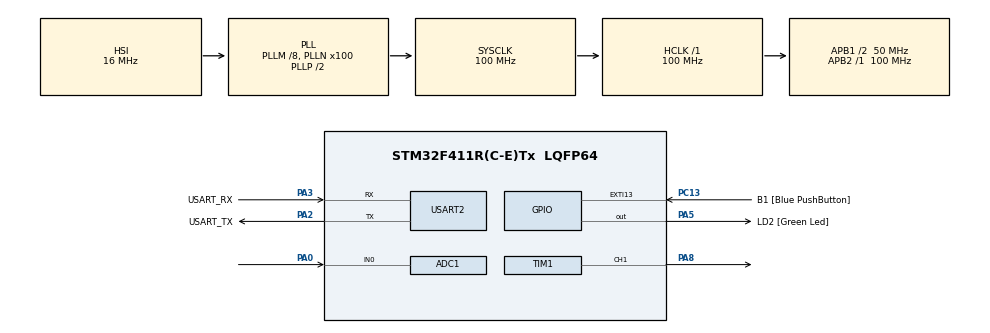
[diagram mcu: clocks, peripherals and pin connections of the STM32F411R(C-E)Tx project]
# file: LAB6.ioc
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ADC1.Channel-0\#ChannelRegularConversion=ADC_CHANNEL_0
ADC1.ExternalTrigConv=ADC_EXTERNALTRIGCONV_T3_TRGO
ADC1.InjNumberOfConversion=0
ADC1.NbrOfConversion=1
ADC1.NbrOfConversionFlag=1
ADC1.Rank-0\#ChannelRegularConversion=1
ADC1.SamplingTime-0\#ChannelRegularConversion=ADC_SAMPLETIME_3CYCLES
ADC1.master=1
Mcu.Family=STM32F4
Mcu.Name=STM32F411R(C-E)Tx
Mcu.Package=LQFP64
NVIC.ADC_IRQn=true\:0\:0\:false\:false\:true\:true\:true
NVIC.PriorityGroup=NVIC_PRIORITYGROUP_0
NVIC.TIM1_TRG_COM_TIM11_IRQn=true\:0\:0\:false\:false\:true\:true\:true
PA0-WKUP.Signal=ADCx_IN0
PA13.GPIO_Label=TMS
PA13.Mode=Serial_Wire
PA13.Signal=SYS_JTMS-SWDIO
PA14.GPIO_Label=TCK
PA14.Mode=Serial_Wire
PA14.Signal=SYS_JTCK-SWCLK
PA2.GPIO_Label=USART_TX
PA2.Mode=Asynchronous
PA2.Signal=USART2_TX
PA3.GPIO_Label=USART_RX
PA3.Mode=Asynchronous
PA3.Signal=USART2_RX
PA5.GPIO_Label=LD2 [Green Led]
PA5.Signal=GPIO_Output
PA8.Signal=S_TIM1_CH1
PB3.GPIO_Label=SWO
PB3.Signal=SYS_JTDO-SWO
PC13-ANTI_TAMP.GPIO_Label=B1 [Blue PushButton]
PC13-ANTI_TAMP.GPIO_ModeDefaultEXTI=GPIO_MODE_IT_FALLING
PC13-ANTI_TAMP.Signal=GPXTI13
PC14-OSC32_IN.Mode=LSE-External-Oscillator
PC14-OSC32_IN.Signal=RCC_OSC32_IN
PC15-OSC32_OUT.Mode=LSE-External-Oscillator
PC15-OSC32_OUT.Signal=RCC_OSC32_OUT
PH0\ -\ OSC_IN.Mode=HSE-External-Clock-Source
PH0\ -\ OSC_IN.Signal=RCC_OSC_IN
PH1\ -\ OSC_OUT.Mode=HSE-External-Clock-Source
PH1\ -\ OSC_OUT.Signal=RCC_OSC_OUT
ProjectManager.HeapSize=0x200
ProjectManager.StackSize=0x400
ProjectManager.TargetToolchain=STM32CubeIDE
RCC.48MHZClocksFreq_Value=50000000
RCC.AHBFreq_Value=100000000
RCC.APB1CLKDivider=RCC_HCLK_DIV2
RCC.APB1Freq_Value=50000000
RCC.APB1TimFreq_Value=100000000
RCC.APB2Freq_Value=100000000
RCC.APB2TimFreq_Value=100000000
RCC.CortexFreq_Value=100000000
RCC.FLatency-AdvancedSettings=FLASH_LATENCY_3
RCC.HCLKFreq_Value=100000000
RCC.HSE_VALUE=8000000
RCC.HSI_VALUE=16000000
RCC.PLLM=8
RCC.PLLN=100
RCC.SYSCLKFreq_VALUE=100000000
RCC.SYSCLKSource=RCC_SYSCLKSOURCE_PLLCLK
RCC.VCOOutputFreq_Value=200000000
SH.ADCx_IN0.0=ADC1_IN0,IN0
SH.S_TIM1_CH1.0=TIM1_CH1,PWM Generation1 CH1
TIM1.Channel-PWM\ Generation1\ CH1=TIM_CHANNEL_1
TIM1.Period=10000
TIM1.Pulse-PWM\ Generation1\ CH1=5000
TIM11.Prescaler=99
TIM3.Period=1000
TIM3.Prescaler=99
TIM3.TIM_MasterOutputTrigger=TIM_TRGO_UPDATE
USART2.VirtualMode=VM_ASYNC
VP_TIM11_VS_ClockSourceINT.Mode=Enable_Timer
VP_TIM1_VS_ClockSourceINT.Mode=Internal
VP_TIM3_VS_ClockSourceINT.Mode=Internal
board=NUCLEO-F411RE

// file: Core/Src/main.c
/* USER CODE BEGIN Header */
/**
 ******************************************************************************
 * @file           : main.c
 * @brief          : Main program body
 ******************************************************************************
 * @attention
 *
 * <h2><center>&copy; Copyright (c) 2021 STMicroelectronics.
 * All rights reserved.</center></h2>
 *
 * This software component is licensed by ST under BSD 3-Clause license,
 * the "License"; You may not use this file except in compliance with the
 * License. You may obtain a copy of the License at:
 *                        opensource.org/licenses/BSD-3-Clause
 *
 ******************************************************************************
 */
/* USER CODE END Header */
#include "main.h"

ADC_HandleTypeDef hadc1;

TIM_HandleTypeDef htim1;
TIM_HandleTypeDef htim3;
TIM_HandleTypeDef htim11;

UART_HandleTypeDef huart2;

/* USER CODE BEGIN PV */
uint16_t ADCFeedBack = 0;
uint16_t PWMOut = 3000;
uint64_t _micro = 0;
uint64_t Time = 0;
float Voltage = 0;
float Resistor = 0;
/* USER CODE END PV */

void SystemClock_Config(void);
static void MX_GPIO_Init(void);
static void MX_USART2_UART_Init(void);
static void MX_ADC1_Init(void);
static void MX_TIM1_Init(void);
static void MX_TIM11_Init(void);
static void MX_TIM3_Init(void);
/* USER CODE BEGIN PFP */
uint64_t micros();
/* USER CODE END PFP */

int main(void)
{

  /* MCU Configuration--------------------------------------------------------*/

  /* Reset of all peripherals, Initializes the Flash interface and the Systick. */
  HAL_Init();

  /* Configure the system clock */
  SystemClock_Config();

  /* Initialize all configured peripherals */
  MX_GPIO_Init();
  MX_USART2_UART_Init();
  MX_ADC1_Init();
  MX_TIM1_Init();
  MX_TIM11_Init();
  MX_TIM3_Init();
  /* USER CODE BEGIN 2 */
	//ADC START
	HAL_ADC_Start_IT(&hadc1);
	HAL_TIM_Base_Start(&htim3);
	// start pwm
	HAL_TIM_Base_Start(&htim1);
	HAL_TIM_PWM_Start(&htim1, TIM_CHANNEL_1);
	// start micros
	HAL_TIM_Base_Start_IT(&htim11);

  /* USER CODE END 2 */

  /* Infinite loop */
	while (1)
	{

    /* USER CODE BEGIN 3 */

		if (micros() - Time >= 1000)
		{
			Time = micros();
			Voltage = (ADCFeedBack*3.3)/4096;
			Resistor = 1000*((3.3*PWMOut/10000)-Voltage)/Voltage;
			PWMOut = ((1000+Resistor)/33) * 100;
			__HAL_TIM_SET_COMPARE(&htim1, TIM_CHANNEL_1, PWMOut);
		}
	}
  /* USER CODE END 3 */

}

void SystemClock_Config(void)
{
  RCC_OscInitTypeDef RCC_OscInitStruct = {0};
  RCC_ClkInitTypeDef RCC_ClkInitStruct = {0};

  /** Configure the main internal regulator output voltage
  */
  __HAL_RCC_PWR_CLK_ENABLE();
  __HAL_PWR_VOLTAGESCALING_CONFIG(PWR_REGULATOR_VOLTAGE_SCALE1);
  /** Initializes the RCC Oscillators according to the specified parameters
  * in the RCC_OscInitTypeDef structure.
  */
  RCC_OscInitStruct.OscillatorType = RCC_OSCILLATORTYPE_HSI;
  RCC_OscInitStruct.HSIState = RCC_HSI_ON;
  RCC_OscInitStruct.HSICalibrationValue = RCC_HSICALIBRATION_DEFAULT;
  RCC_OscInitStruct.PLL.PLLState = RCC_PLL_ON;
  RCC_OscInitStruct.PLL.PLLSource = RCC_PLLSOURCE_HSI;
  RCC_OscInitStruct.PLL.PLLM = 8;
  RCC_OscInitStruct.PLL.PLLN = 100;
  RCC_OscInitStruct.PLL.PLLP = RCC_PLLP_DIV2;
  RCC_OscInitStruct.PLL.PLLQ = 4;
  if (HAL_RCC_OscConfig(&RCC_OscInitStruct) != HAL_OK)
  {
    Error_Handler();
  }
  /** Initializes the CPU, AHB and APB buses clocks
  */
  RCC_ClkInitStruct.ClockType = RCC_CLOCKTYPE_HCLK|RCC_CLOCKTYPE_SYSCLK
                              |RCC_CLOCKTYPE_PCLK1|RCC_CLOCKTYPE_PCLK2;
  RCC_ClkInitStruct.SYSCLKSource = RCC_SYSCLKSOURCE_PLLCLK;
  RCC_ClkInitStruct.AHBCLKDivider = RCC_SYSCLK_DIV1;
  RCC_ClkInitStruct.APB1CLKDivider = RCC_HCLK_DIV2;
  RCC_ClkInitStruct.APB2CLKDivider = RCC_HCLK_DIV1;

  if (HAL_RCC_ClockConfig(&RCC_ClkInitStruct, FLASH_LATENCY_3) != HAL_OK)
  {
    Error_Handler();
  }
}

static void MX_ADC1_Init(void)
{

  ADC_ChannelConfTypeDef sConfig = {0};

  /** Configure the global features of the ADC (Clock, Resolution, Data Alignment and number of conversion)
  */
  hadc1.Instance = ADC1;
  hadc1.Init.ClockPrescaler = ADC_CLOCK_SYNC_PCLK_DIV4;
  hadc1.Init.Resolution = ADC_RESOLUTION_12B;
  hadc1.Init.ScanConvMode = DISABLE;
  hadc1.Init.ContinuousConvMode = DISABLE;
  hadc1.Init.DiscontinuousConvMode = DISABLE;
  hadc1.Init.ExternalTrigConvEdge = ADC_EXTERNALTRIGCONVEDGE_RISING;
  hadc1.Init.ExternalTrigConv = ADC_EXTERNALTRIGCONV_T3_TRGO;
  hadc1.Init.DataAlign = ADC_DATAALIGN_RIGHT;
  hadc1.Init.NbrOfConversion = 1;
  hadc1.Init.DMAContinuousRequests = DISABLE;
  hadc1.Init.EOCSelection = ADC_EOC_SINGLE_CONV;
  if (HAL_ADC_Init(&hadc1) != HAL_OK)
  {
    Error_Handler();
  }
  /** Configure for the selected ADC regular channel its corresponding rank in the sequencer and its sample time.
  */
  sConfig.Channel = ADC_CHANNEL_0;
  sConfig.Rank = 1;
  sConfig.SamplingTime = ADC_SAMPLETIME_56CYCLES;
  if (HAL_ADC_ConfigChannel(&hadc1, &sConfig) != HAL_OK)
  {
    Error_Handler();
  }

}

static void MX_TIM1_Init(void)
{

  TIM_ClockConfigTypeDef sClockSourceConfig = {0};
  TIM_MasterConfigTypeDef sMasterConfig = {0};
  TIM_OC_InitTypeDef sConfigOC = {0};
  TIM_BreakDeadTimeConfigTypeDef sBreakDeadTimeConfig = {0};

  htim1.Instance = TIM1;
  htim1.Init.Prescaler = 0;
  htim1.Init.CounterMode = TIM_COUNTERMODE_UP;
  htim1.Init.Period = 10000;
  htim1.Init.ClockDivision = TIM_CLOCKDIVISION_DIV1;
  htim1.Init.RepetitionCounter = 0;
  htim1.Init.AutoReloadPreload = TIM_AUTORELOAD_PRELOAD_ENABLE;
  if (HAL_TIM_Base_Init(&htim1) != HAL_OK)
  {
    Error_Handler();
  }
  sClockSourceConfig.ClockSource = TIM_CLOCKSOURCE_INTERNAL;
  if (HAL_TIM_ConfigClockSource(&htim1, &sClockSourceConfig) != HAL_OK)
  {
    Error_Handler();
  }
  if (HAL_TIM_PWM_Init(&htim1) != HAL_OK)
  {
    Error_Handler();
  }
  sMasterConfig.MasterOutputTrigger = TIM_TRGO_RESET;
  sMasterConfig.MasterSlaveMode = TIM_MASTERSLAVEMODE_DISABLE;
  if (HAL_TIMEx_MasterConfigSynchronization(&htim1, &sMasterConfig) != HAL_OK)
  {
    Error_Handler();
  }
  sConfigOC.OCMode = TIM_OCMODE_PWM1;
  sConfigOC.Pulse = 0;
  sConfigOC.OCPolarity = TIM_OCPOLARITY_HIGH;
  sConfigOC.OCNPolarity = TIM_OCNPOLARITY_HIGH;
  sConfigOC.OCFastMode = TIM_OCFAST_DISABLE;
  sConfigOC.OCIdleState = TIM_OCIDLESTATE_RESET;
  sConfigOC.OCNIdleState = TIM_OCNIDLESTATE_RESET;
  if (HAL_TIM_PWM_ConfigChannel(&htim1, &sConfigOC, TIM_CHANNEL_1) != HAL_OK)
  {
    Error_Handler();
  }
  sBreakDeadTimeConfig.OffStateRunMode = TIM_OSSR_DISABLE;
  sBreakDeadTimeConfig.OffStateIDLEMode = TIM_OSSI_DISABLE;
  sBreakDeadTimeConfig.LockLevel = TIM_LOCKLEVEL_OFF;
  sBreakDeadTimeConfig.DeadTime = 0;
  sBreakDeadTimeConfig.BreakState = TIM_BREAK_DISABLE;
  sBreakDeadTimeConfig.BreakPolarity = TIM_BREAKPOLARITY_HIGH;
  sBreakDeadTimeConfig.AutomaticOutput = TIM_AUTOMATICOUTPUT_DISABLE;
  if (HAL_TIMEx_ConfigBreakDeadTime(&htim1, &sBreakDeadTimeConfig) != HAL_OK)
  {
    Error_Handler();
  }
  HAL_TIM_MspPostInit(&htim1);

}

static void MX_TIM3_Init(void)
{

  TIM_ClockConfigTypeDef sClockSourceConfig = {0};
  TIM_MasterConfigTypeDef sMasterConfig = {0};

  htim3.Instance = TIM3;
  htim3.Init.Prescaler = 99;
  htim3.Init.CounterMode = TIM_COUNTERMODE_UP;
  htim3.Init.Period = 1000;
  htim3.Init.ClockDivision = TIM_CLOCKDIVISION_DIV1;
  htim3.Init.AutoReloadPreload = TIM_AUTORELOAD_PRELOAD_DISABLE;
  if (HAL_TIM_Base_Init(&htim3) != HAL_OK)
  {
    Error_Handler();
  }
  sClockSourceConfig.ClockSource = TIM_CLOCKSOURCE_INTERNAL;
  if (HAL_TIM_ConfigClockSource(&htim3, &sClockSourceConfig) != HAL_OK)
  {
    Error_Handler();
  }
  sMasterConfig.MasterOutputTrigger = TIM_TRGO_UPDATE;
  sMasterConfig.MasterSlaveMode = TIM_MASTERSLAVEMODE_DISABLE;
  if (HAL_TIMEx_MasterConfigSynchronization(&htim3, &sMasterConfig) != HAL_OK)
  {
    Error_Handler();
  }

}

static void MX_TIM11_Init(void)
{

  htim11.Instance = TIM11;
  htim11.Init.Prescaler = 99;
  htim11.Init.CounterMode = TIM_COUNTERMODE_UP;
  htim11.Init.Period = 65535;
  htim11.Init.ClockDivision = TIM_CLOCKDIVISION_DIV1;
  htim11.Init.AutoReloadPreload = TIM_AUTORELOAD_PRELOAD_DISABLE;
  if (HAL_TIM_Base_Init(&htim11) != HAL_OK)
  {
    Error_Handler();
  }

}

static void MX_USART2_UART_Init(void)
{

  huart2.Instance = USART2;
  huart2.Init.BaudRate = 115200;
  huart2.Init.WordLength = UART_WORDLENGTH_8B;
  huart2.Init.StopBits = UART_STOPBITS_1;
  huart2.Init.Parity = UART_PARITY_NONE;
  huart2.Init.Mode = UART_MODE_TX_RX;
  huart2.Init.HwFlowCtl = UART_HWCONTROL_NONE;
  huart2.Init.OverSampling = UART_OVERSAMPLING_16;
  if (HAL_UART_Init(&huart2) != HAL_OK)
  {
    Error_Handler();
  }

}

static void MX_GPIO_Init(void)
{
  GPIO_InitTypeDef GPIO_InitStruct = {0};

  /* GPIO Ports Clock Enable */
  __HAL_RCC_GPIOC_CLK_ENABLE();
  __HAL_RCC_GPIOH_CLK_ENABLE();
  __HAL_RCC_GPIOA_CLK_ENABLE();
  __HAL_RCC_GPIOB_CLK_ENABLE();

  /*Configure GPIO pin Output Level */
  HAL_GPIO_WritePin(LD2_GPIO_Port, LD2_Pin, GPIO_PIN_RESET);

  /*Configure GPIO pin : B1_Pin */
  GPIO_InitStruct.Pin = B1_Pin;
  GPIO_InitStruct.Mode = GPIO_MODE_IT_FALLING;
  GPIO_InitStruct.Pull = GPIO_NOPULL;
  HAL_GPIO_Init(B1_GPIO_Port, &GPIO_InitStruct);

  /*Configure GPIO pin : LD2_Pin */
  GPIO_InitStruct.Pin = LD2_Pin;
  GPIO_InitStruct.Mode = GPIO_MODE_OUTPUT_PP;
  GPIO_InitStruct.Pull = GPIO_NOPULL;
  GPIO_InitStruct.Speed = GPIO_SPEED_FREQ_LOW;
  HAL_GPIO_Init(LD2_GPIO_Port, &GPIO_InitStruct);

}

/* USER CODE BEGIN 4 */

void HAL_ADC_ConvCpltCallback(ADC_HandleTypeDef *hadc)
{
	ADCFeedBack = HAL_ADC_GetValue(&hadc1);

}
void HAL_TIM_PeriodElapsedCallback(TIM_HandleTypeDef *htim)
{
	if (htim == &htim11)
	{
		_micro += 65535;
	}
}

__inline__ uint64_t micros()
{
	return _micro + htim11.Instance->CNT;
}
/* USER CODE END 4 */

void Error_Handler(void)
{
	__disable_irq();
	while (1)
	{
	}
}

/************************ (C) COPYRIGHT STMicroelectronics *****END OF FILE****/
